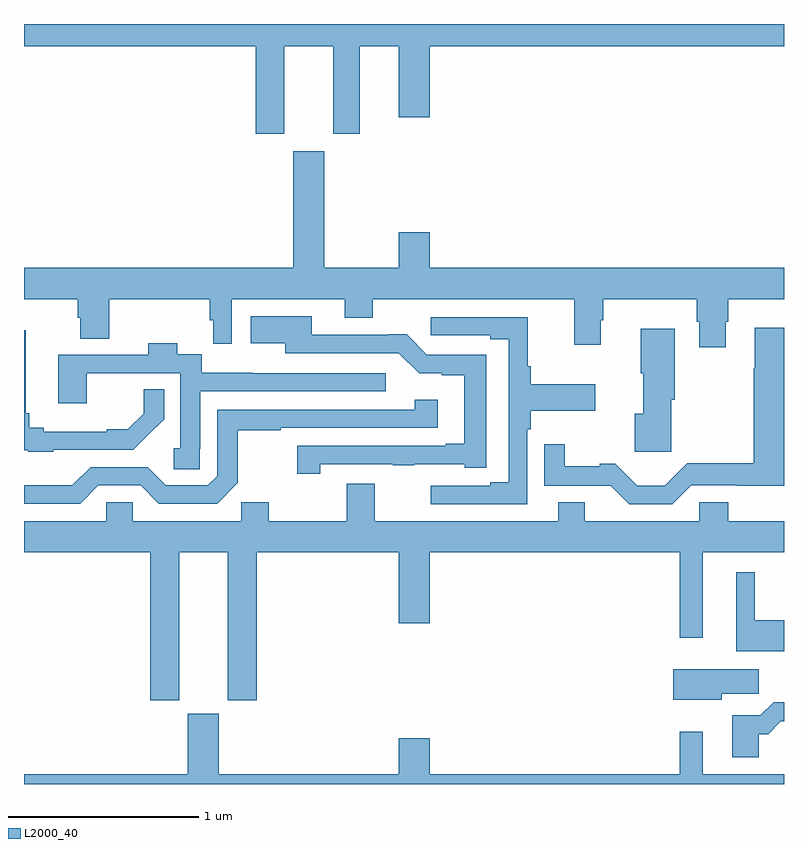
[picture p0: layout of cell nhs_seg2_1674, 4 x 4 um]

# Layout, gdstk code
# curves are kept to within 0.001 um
import gdstk
lib = gdstk.Library(unit=1e-6, precision=1e-09)
def P(c, l, *ps):  # polygons
    for p in ps: c.add(gdstk.Polygon(p, *l))
L2000_40 = (2000, 40)

nhs_seg2_1674 = lib.new_cell('nhs_seg2_1674')
P(nhs_seg2_1674, L2000_40, [(200.371,599.684),(200.627,599.684),(200.627,599.223),(200.767,599.223),(200.767,599.684),(200.972,599.684),(200.972,599.31),(201.136,599.31),(201.136,599.684),(203,599.684),(203,599.8),(199,599.8),(199,599.684),(200.219,599.684),(200.219,599.223),(200.371,599.223)],
  [(202.693,598.233),(202.706,598.233),(202.706,598.352),(203,598.352),(203,598.516),(201.136,598.516),(201.136,598.705),(200.972,598.705),(200.972,598.516),(200.581,598.516),(200.581,599.131),(200.417,599.131),(200.417,598.516),(199,598.516),(199,598.352),(199.283,598.352),(199.283,598.254),(199.295,598.254),(199.295,598.144),(199.448,598.144),(199.448,598.352),(199.978,598.352),(199.978,598.242),(199.997,598.242),(199.997,598.116),(200.094,598.116),(200.094,598.352),(200.687,598.352),(200.687,598.253),(200.835,598.253),(200.835,598.352),(201.896,598.352),(201.896,598.113),(202.036,598.113),(202.036,598.241),(202.049,598.241),(202.049,598.352),(202.541,598.352),(202.541,598.233),(202.553,598.233),(202.553,598.098),(202.693,598.098)],
  [(200.559,597.483),(200.941,597.483),(200.941,597.478),(201.053,597.478),(201.053,597.483),(201.321,597.483),(201.321,597.465),(201.433,597.465),(201.433,598.059),(201.12,598.059),(201.014,598.166),(200.918,598.166),(200.918,598.164),(200.515,598.164),(200.515,598.261),(200.193,598.261),(200.193,598.121),(200.375,598.121),(200.375,598.068),(200.973,598.068),(201.079,597.962),(201.198,597.962),(201.198,597.951),(201.317,597.951),(201.317,597.592),(201.221,597.592),(201.221,597.579),(200.439,597.579),(200.439,597.432),(200.559,597.432)],
  [(201.648,597.668),(201.668,597.668),(201.668,597.764),(202.006,597.764),(202.006,597.904),(201.668,597.904),(201.668,598),(201.651,598),(201.651,598.257),(201.141,598.257),(201.141,598.161),(201.455,598.161),(201.455,598.141),(201.552,598.141),(201.552,597.387),(201.455,597.387),(201.455,597.369),(201.141,597.369),(201.141,597.273),(201.648,597.273)],
  [(202.512,597.372),(203,597.371),(203,598.201),(202.847,598.201),(202.847,597.988),(202.84,597.988),(202.84,597.488),(202.49,597.488),(202.372,597.37),(202.227,597.37),(202.112,597.485),(202.031,597.485),(202.031,597.473),(201.847,597.473),(201.847,597.589),(201.738,597.589),(201.738,597.371),(202.088,597.371),(202.185,597.273),(202.413,597.273)],
  [(202.407,597.822),(202.425,597.822),(202.425,598.195),(202.247,598.195),(202.247,597.962),(202.259,597.962),(202.259,597.749),(202.214,597.749),(202.214,597.548),(202.407,597.548)],
  [(199.155,597.558),(199.576,597.558),(199.655,597.637),(199.654,597.638),(199.738,597.721),(199.738,597.878),(199.629,597.878),(199.629,597.749),(199.545,597.666),(199.436,597.666),(199.436,597.655),(199.105,597.655),(199.105,597.674),(199.027,597.674),(199.027,597.751),(199.009,597.751),(199.009,598.189),(199,598.189),(199,597.557),(199.023,597.557),(199.023,597.548),(199.155,597.548)],
  [(199.926,597.565),(199.927,597.565),(199.927,597.867),(200.905,597.867),(200.905,597.963),(200.205,597.963),(200.205,597.964),(199.936,597.964),(199.936,598.063),(199.807,598.063),(199.807,598.12),(199.655,598.12),(199.655,598.059),(199.181,598.059),(199.181,597.804),(199.329,597.804),(199.329,597.962),(199.571,597.962),(199.571,597.963),(199.823,597.963),(199.823,597.568),(199.788,597.568),(199.788,597.457),(199.926,597.457)],
  [(199.392,597.372),(199.614,597.372),(199.71,597.276),(200.016,597.276),(200.125,597.385),(200.125,597.663),(200.351,597.663),(200.351,597.675),(201.178,597.675),(201.178,597.823),(201.057,597.823),(201.057,597.771),(200.016,597.771),(200.016,597.42),(199.968,597.372),(199.746,597.372),(199.65,597.468),(199.35,597.468),(199.255,597.373),(199,597.373),(199,597.276),(199.296,597.276)],
  [(200.972,596.646),(201.136,596.646),(201.136,597.02),(202.452,597.02),(202.452,596.571),(202.573,596.571),(202.573,597.02),(203,597.02),(203,597.184),(202.706,597.184),(202.706,597.282),(202.554,597.282),(202.554,597.184),(201.952,597.184),(201.952,597.283),(201.812,597.283),(201.812,597.184),(200.845,597.184),(200.845,597.379),(200.698,597.379),(200.698,597.184),(200.289,597.184),(200.289,597.282),(200.143,597.282),(200.143,597.184),(199.572,597.184),(199.572,597.282),(199.434,597.282),(199.434,597.184),(199,597.184),(199,597.02),(199.664,597.02),(199.664,596.241),(199.816,596.241),(199.816,597.02),(200.072,597.02),(200.072,596.241),(200.225,596.241),(200.225,597.02),(200.972,597.02)],
  [(203,596.662),(202.846,596.662),(202.846,596.914),(202.748,596.914),(202.748,596.498),(203,596.498)],
  [(202.672,596.275),(202.867,596.275),(202.867,596.404),(202.418,596.404),(202.418,596.243),(202.672,596.243)],
  [(202.867,596.063),(202.916,596.063),(202.983,596.13),(203,596.13),(203,596.231),(202.946,596.231),(202.876,596.161),(202.727,596.161),(202.727,595.941),(202.867,595.941)],
  [(199.862,596.169),(199.862,595.852),(199,595.852),(199,595.8),(203,595.8),(203,595.852),(202.573,595.852),(202.573,596.074),(202.452,596.074),(202.452,595.852),(201.136,595.852),(201.136,596.041),(200.972,596.041),(200.972,595.852),(200.026,595.852),(200.026,596.169)])

lib.write_gds('nhs_seg2_1674.gds')
